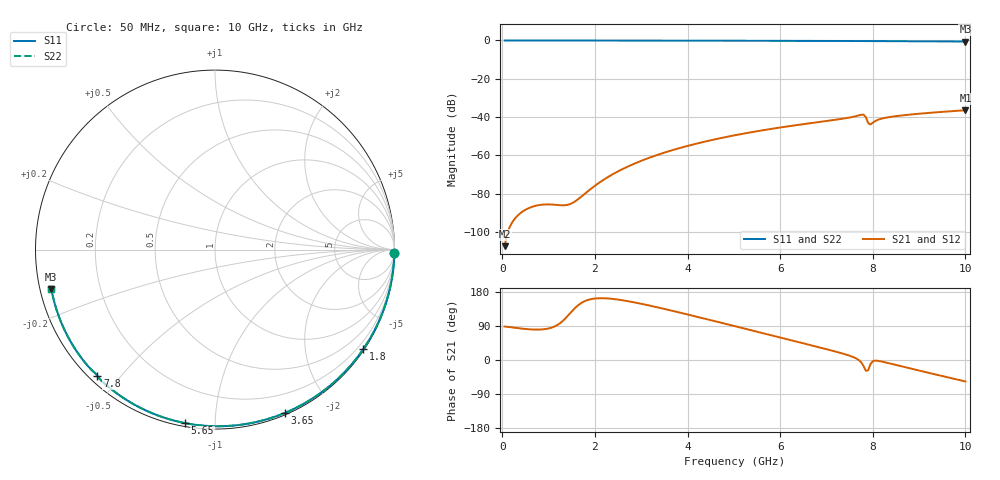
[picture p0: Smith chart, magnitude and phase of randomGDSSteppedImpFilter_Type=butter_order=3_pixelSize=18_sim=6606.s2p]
! freq	dB(S11)	phase(S11)	dB(S12)	phase(S12)
!  dB(S21)	phase(S21)	dB(S22)	phase(S22)
!S-par simulation data
#  GHz  S  DB  R 50
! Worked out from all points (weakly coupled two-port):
!   200 points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, 50 MHz to 10 GHz, reference 50 ohm
!   highest |S21| = -36.47 dB at 10 GHz (marker M1); lowest = -107.5 dB at 50 MHz (marker M2)
!   lowest |S11| = -0.6 dB at 10 GHz (marker M3), VSWR 31.29, Z = 1.62 - j5.97 ohm
!   |S11| at or under -10 dB: nowhere
!   |S22| runs from -0.6 to 0.0 dB; largest |S21 - S12| = 0
!   S11 on the Smith chart (normalised r, x): 50 MHz: open; 1.8 GHz: 0.03, -3.27; 3.65 GHz: 0.02, -1.51; 5.65 GHz: 0.02, -0.84; 7.8 GHz: 0.02, -0.44; 10 GHz: 0.03, -0.12
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0.05  -0.00 -1.0  -107.48 88.3  -107.48 88.3  -0.00 -1.0
0.85  -0.02 -16.2  -85.81 80.6  -85.81 80.6  -0.02 -16.2
1.75  -0.04 -33.0  -80.74 153.4  -80.74 153.4  -0.04 -33.0
1.8  -0.04 -34.0  -79.74 156.3  -79.74 156.3  -0.04 -34.0
2.15  -0.05 -40.4  -73.38 163.1  -73.38 163.1  -0.05 -40.4
2.5  -0.06 -46.7  -68.39 159.4  -68.39 159.4  -0.06 -46.7
2.9  -0.07 -53.8  -63.87 150.9  -63.87 150.9  -0.07 -53.8
3.4  -0.08 -62.6  -59.39 137.6  -59.39 137.6  -0.08 -62.6
3.65  -0.09 -66.9  -57.48 130.5  -57.48 130.5  -0.09 -66.9
4.3  -0.11 -77.9  -53.28 111.2  -53.28 111.2  -0.11 -77.9
5.05  -0.14 -90.2  -49.40 88.4  -49.40 88.4  -0.14 -90.2
5.65  -0.17 -99.7  -46.83 70.1  -46.83 70.1  -0.17 -99.7
6.7  -0.23 -116.0  -43.07 37.9  -43.07 37.9  -0.23 -116.0
7.4  -0.28 -126.7  -40.69 15.2  -40.69 15.2  -0.28 -126.7
7.8  -0.33 -132.9  -38.76 -15.7  -38.76 -15.7  -0.33 -132.9
7.85  -0.36 -133.6  -40.06 -28.4  -40.06 -28.4  -0.36 -133.6
7.9  -0.37 -134.2  -43.15 -27.2  -43.15 -27.2  -0.37 -134.2
7.95  -0.36 -134.8  -43.88 -10.9  -43.88 -10.9  -0.36 -134.8
8.1  -0.35 -137.1  -41.57 -1.9  -41.57 -1.9  -0.35 -137.1
8.35  -0.37 -140.9  -40.07 -8.6  -40.07 -8.6  -0.37 -140.9
9.2  -0.46 -153.9  -37.87 -33.7  -37.87 -33.7  -0.46 -153.9
10  -0.56 -166.4  -36.47 -56.7  -36.47 -56.7  -0.56 -166.4
